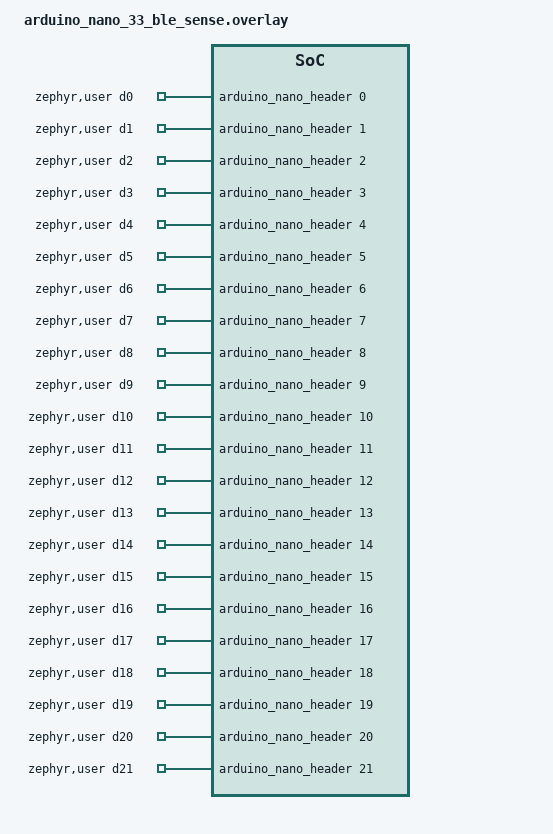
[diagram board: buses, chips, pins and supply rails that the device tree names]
/ {
	zephyr,user {
		d0_gpios = <&arduino_nano_header 0 0>;
		d1_gpios = <&arduino_nano_header 1 0>;
		d2_gpios = <&arduino_nano_header 2 0>;
		d3_gpios = <&arduino_nano_header 3 0>;
		d4_gpios = <&arduino_nano_header 4 0>;
		d5_gpios = <&arduino_nano_header 5 0>;
		d6_gpios = <&arduino_nano_header 6 0>;
		d7_gpios = <&arduino_nano_header 7 0>;
		d8_gpios = <&arduino_nano_header 8 0>;
		d9_gpios = <&arduino_nano_header 9 0>;
		d10_gpios = <&arduino_nano_header 10 0>;
		d11_gpios = <&arduino_nano_header 11 0>;
		d12_gpios = <&arduino_nano_header 12 0>;
		d13_gpios = <&arduino_nano_header 13 0>;
		d14_gpios = <&arduino_nano_header 14 0>; /* D14 / A0 */
		d15_gpios = <&arduino_nano_header 15 0>;
		d16_gpios = <&arduino_nano_header 16 0>;
		d17_gpios = <&arduino_nano_header 17 0>;
		d18_gpios = <&arduino_nano_header 18 0>; /* D18 / A4 / I2C-SDA */
		d19_gpios = <&arduino_nano_header 19 0>; /* D19 / A5 / I2C-SCL */
		d20_gpios = <&arduino_nano_header 20 0>;
		d21_gpios = <&arduino_nano_header 21 0>;
	};
};
